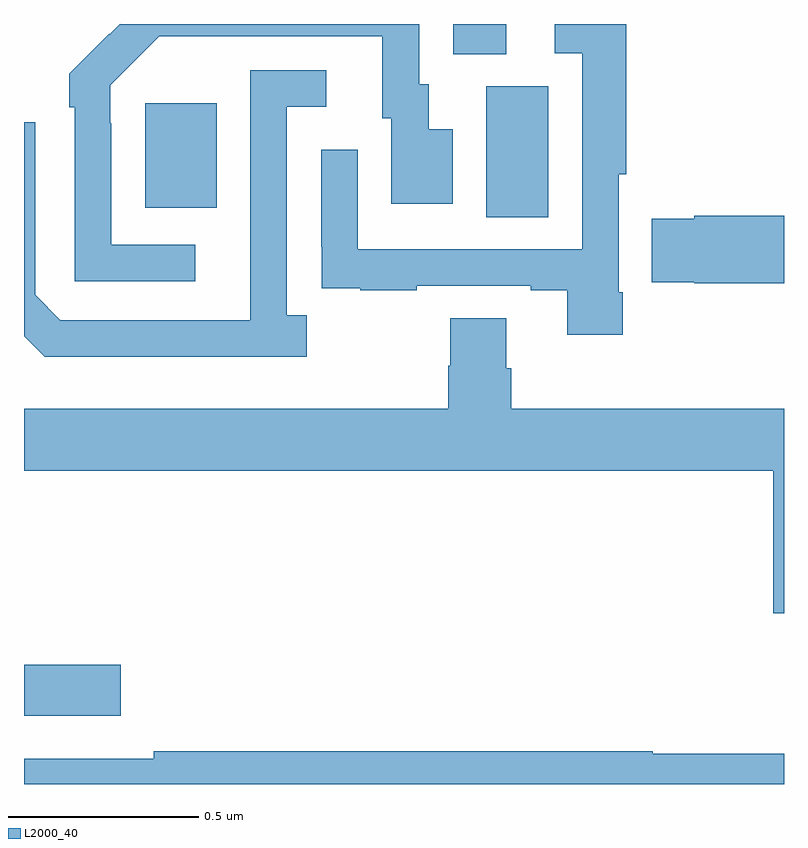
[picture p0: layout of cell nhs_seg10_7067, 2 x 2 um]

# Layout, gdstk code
import gdstk
lib = gdstk.Library(unit=1e-6, precision=1e-09)
def R(c, l, rs):  # rectangles x0, y0, x1, y1
    for r in rs: c.add(gdstk.rectangle(r[:2], r[2:], *l))
def P(c, l, *ps):  # polygons
    for p in ps: c.add(gdstk.Polygon(p, *l))
L2000_40 = (2000, 40)

nhs_seg10_7067 = lib.new_cell('nhs_seg10_7067')
R(nhs_seg10_7067, L2000_40, [(199,1291.679,199.255,1291.814), (200.216,1292.992,200.38,1293.336), (199.319,1293.017,199.507,1293.292), (200.129,1293.421,200.269,1293.5)])
P(nhs_seg10_7067, L2000_40, [(199.45,1292.919),(199.23,1292.919),(199.23,1293.239),(199.227,1293.239),(199.227,1293.339),(199.356,1293.468),(199.943,1293.468),(199.943,1293.252),(199.967,1293.252),(199.967,1293.027),(200.128,1293.027),(200.128,1293.223),(200.065,1293.223),(200.065,1293.342),(200.04,1293.342),(200.04,1293.5),(199.252,1293.5),(199.225,1293.473),(199.224,1293.474),(199.119,1293.369),(199.119,1293.281),(199.134,1293.281),(199.134,1292.823),(199.45,1292.823)],
  [(200.575,1292.794),(200.565,1292.794),(200.565,1293.105),(200.585,1293.105),(200.585,1293.5),(200.397,1293.5),(200.397,1293.423),(200.469,1293.423),(200.469,1292.907),(199.878,1292.907),(199.878,1293.169),(199.782,1293.169),(199.782,1292.914),(199.783,1292.914),(199.783,1292.805),(199.885,1292.805),(199.885,1292.799),(200.033,1292.799),(200.033,1292.811),(200.333,1292.811),(200.333,1292.799),(200.429,1292.799),(200.429,1292.682),(200.575,1292.682)],
  [(199.744,1292.734),(199.692,1292.734),(199.692,1293.282),(199.795,1293.282),(199.795,1293.378),(199.596,1293.378),(199.596,1292.921),(199.595,1292.921),(199.595,1292.721),(199.095,1292.721),(199.029,1292.787),(199.029,1293.241),(199,1293.241),(199,1292.678),(199.054,1292.624),(199.744,1292.624)],
  [(201,1292.996),(200.764,1292.996),(200.764,1292.987),(200.652,1292.987),(200.652,1292.82),(200.764,1292.82),(200.764,1292.818),(201,1292.818)],
  [(201,1292.488),(200.282,1292.488),(200.282,1292.594),(200.269,1292.594),(200.269,1292.726),(200.122,1292.726),(200.122,1292.601),(200.117,1292.601),(200.117,1292.488),(199,1292.488),(199,1292.324),(200.972,1292.324),(200.972,1291.95),(201,1291.95)],
  [(201,1291.579),(200.655,1291.579),(200.655,1291.586),(199.342,1291.586),(199.342,1291.566),(199,1291.566),(199,1291.5),(201,1291.5)])

lib.write_gds('nhs_seg10_7067.gds')
